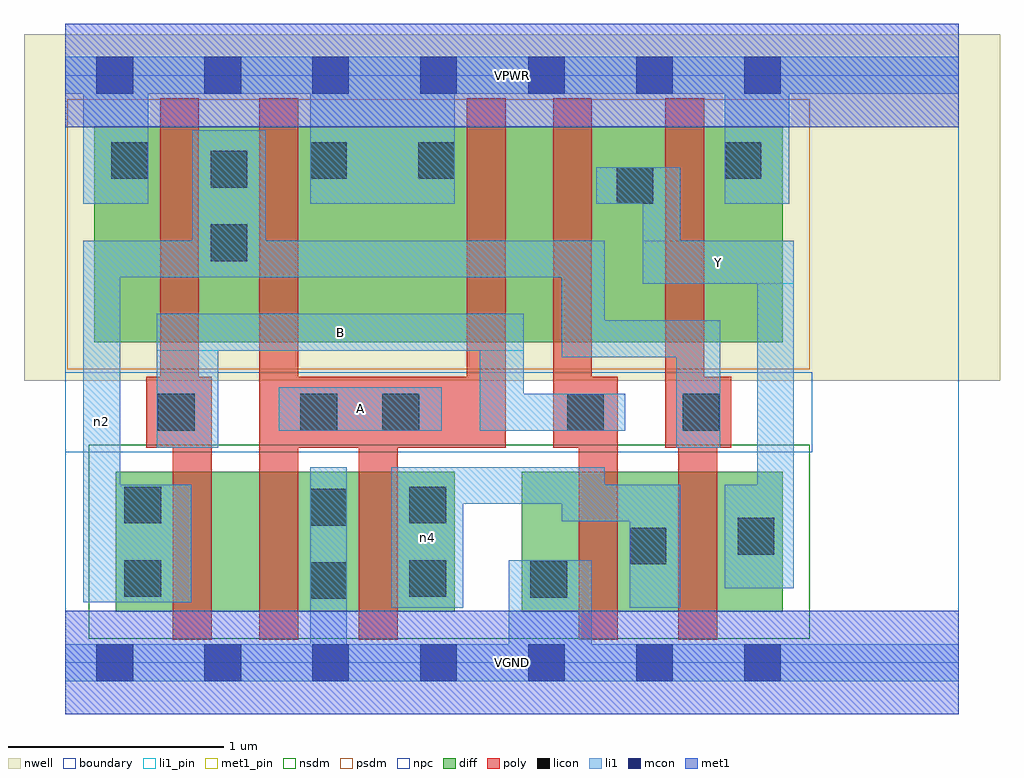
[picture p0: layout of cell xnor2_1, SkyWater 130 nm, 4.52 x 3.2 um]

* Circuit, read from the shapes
.subckt xnor2_1 A B VGND VPWR Y n2 n4
XM1 n1 B n2 VSUBS sky130_fd_pr__nfet_01v8 w=0.65 l=0.18
XM2 VGND A n1 VSUBS sky130_fd_pr__nfet_01v8 w=0.65 l=0.18
XM3 n4 A VGND VSUBS sky130_fd_pr__nfet_01v8 w=0.65 l=0.18
XM4 n4 B VGND VSUBS sky130_fd_pr__nfet_01v8 w=0.65 l=0.18
XM5 Y n2 n4 VSUBS sky130_fd_pr__nfet_01v8 w=0.65 l=0.18
XM6 n2 B VPWR n3 sky130_fd_pr__pfet_01v8 w=1 l=0.18
XM7 VPWR A n2 n3 sky130_fd_pr__pfet_01v8 w=1 l=0.18
XM8 n5 A VPWR n3 sky130_fd_pr__pfet_01v8 w=1 l=0.18
XM9 Y B n5 n3 sky130_fd_pr__pfet_01v8 w=1 l=0.18
XM10 VPWR n2 Y n3 sky130_fd_pr__pfet_01v8 w=1 l=0.18
.ends

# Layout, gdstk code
import gdstk
lib = gdstk.Library(unit=1e-6, precision=1e-09)
def R(c, l, rs):  # rectangles x0, y0, x1, y1
    for r in rs: c.add(gdstk.rectangle(r[:2], r[2:], *l))
def A(c, l, x, y, w, h, nx, ny, dx, dy):  # array of equal rectangles
    R(c, l, [(x+i*dx, y+j*dy, x+i*dx+w, y+j*dy+h) for i in range(nx) for j in range(ny)])
nwell = (64, 20)
diff = (65, 20)
poly = (66, 20)
licon = (66, 44)
li1_pin = (67, 16)
li1 = (67, 20)
mcon = (67, 44)
met1_pin = (68, 16)
met1 = (68, 20)
nsdm = (93, 44)
psdm = (94, 20)
npc = (95, 20)
boundary = (235, 4)

xnor2_1 = lib.new_cell('xnor2_1')
R(xnor2_1, nwell, [(-0.19,1.305,4.33,2.91), (0,1.305,4.14,2.91)])
R(xnor2_1, diff, [(0.235,0.235,1.805,0.885), (2.115,0.235,3.325,0.885), (0.135,1.485,3.325,2.485)])
R(xnor2_1, poly, [(0.5,0.105,0.68,1.325), (0.9,0.105,1.08,2.615), (1.36,0.105,1.54,1.325), (2.38,0.105,2.56,1.325), (2.84,0.105,3.02,1.325), (0.375,0.995,0.68,1.325), (0.44,0.995,0.62,2.615), (0.9,0.995,2.04,1.325), (1.86,0.995,2.04,2.615), (2.26,0.995,2.44,2.615), (2.78,0.995,3.085,1.325), (2.78,0.995,2.96,2.615)])
R(xnor2_1, licon, [(1.135,0.295,1.305,0.465), (2.155,0.3,2.325,0.47), (0.275,0.305,0.445,0.475), (1.595,0.305,1.765,0.475), (2.615,0.455,2.785,0.625), (3.115,0.5,3.285,0.67), (1.135,0.635,1.305,0.805), (0.275,0.645,0.445,0.815), (1.595,0.645,1.765,0.815), (0.43,1.075,0.6,1.245), (1.09,1.075,1.26,1.245), (1.47,1.075,1.64,1.245), (2.325,1.075,2.495,1.245), (2.86,1.075,3.03,1.245), (0.675,1.86,0.845,2.03), (2.555,2.125,2.725,2.295), (0.675,2.2,0.845,2.37), (0.215,2.24,0.385,2.41), (1.135,2.24,1.305,2.41), (1.635,2.24,1.805,2.41), (3.055,2.24,3.225,2.41)])
R(xnor2_1, li1_pin, [(0.99,1.075,1.745,1.275), (0.425,1.445,2.125,1.615), (2.675,1.755,3.375,1.955)])
R(xnor2_1, li1, [(0,-0.085,4.14,0.085), (1.135,-0.085,1.305,0.905), (2.055,-0.085,2.44,0.475), (1.51,0.255,1.845,0.905), (2.615,0.255,2.85,0.825), (0.085,0.28,0.255,1.955), (0.085,0.28,0.585,0.825), (3.055,0.345,3.375,0.825), (3.205,0.345,3.375,1.955), (2.3,0.655,2.85,0.825), (1.51,0.735,2.5,0.905), (0.425,0.995,0.71,1.615), (2.83,0.995,3.035,1.585), (0.99,1.075,1.745,1.275), (1.92,1.075,2.595,1.245), (1.92,1.075,2.125,1.615), (2.3,1.415,3.035,1.585), (2.3,1.415,2.5,1.955), (0.425,1.445,2.125,1.615), (2.675,1.755,3.375,1.955), (2.675,1.755,2.85,2.295), (0.085,1.785,2.5,1.955), (0.59,1.785,0.93,2.465), (0.085,2.125,0.385,2.805), (1.135,2.125,1.805,2.805), (2.46,2.125,2.85,2.295), (3.055,2.125,3.355,2.805), (0,2.635,4.14,2.805)])
A(xnor2_1, mcon, 0.145, -0.085, 0.17, 0.17, 7, 2, 0.5, 2.72)
R(xnor2_1, met1_pin, [(0,-0.24,4.14,0.24), (0,2.48,4.14,2.96)])
R(xnor2_1, met1, [(0,-0.24,4.14,0.24), (0,2.48,4.14,2.96)])
R(xnor2_1, nsdm, [(0.11,0.11,3.45,1.01)])
R(xnor2_1, psdm, [(0.01,1.36,3.45,2.61)])
R(xnor2_1, npc, [(0,0.975,3.46,1.345)])
R(xnor2_1, boundary, [(0,0,4.14,2.72)])
xnor2_1.add(gdstk.Label('A', (1.367,1.175), layer=67, texttype=5))
xnor2_1.add(gdstk.Label('B', (1.275,1.53), layer=67, texttype=5))
xnor2_1.add(gdstk.Label('Y', (3.025,1.855), layer=67, texttype=5))
xnor2_1.add(gdstk.Label('n4', (1.677,0.58), layer=67, texttype=5))
xnor2_1.add(gdstk.Label('n2', (0.17,1.117), layer=67, texttype=5))
xnor2_1.add(gdstk.Label('VPWR', (2.07,2.72), layer=68, texttype=5))
xnor2_1.add(gdstk.Label('VGND', (2.07,0), layer=68, texttype=5))
xnor2_1.add(gdstk.Label('A', (1.367,1.175), layer=67, texttype=16))
xnor2_1.add(gdstk.Label('B', (1.275,1.53), layer=67, texttype=16))
xnor2_1.add(gdstk.Label('Y', (3.025,1.855), layer=67, texttype=16))
xnor2_1.add(gdstk.Label('VPWR', (2.07,2.72), layer=68, texttype=16))
xnor2_1.add(gdstk.Label('VGND', (2.07,0), layer=68, texttype=16))

lib.write_gds('xnor2_1.gds')
